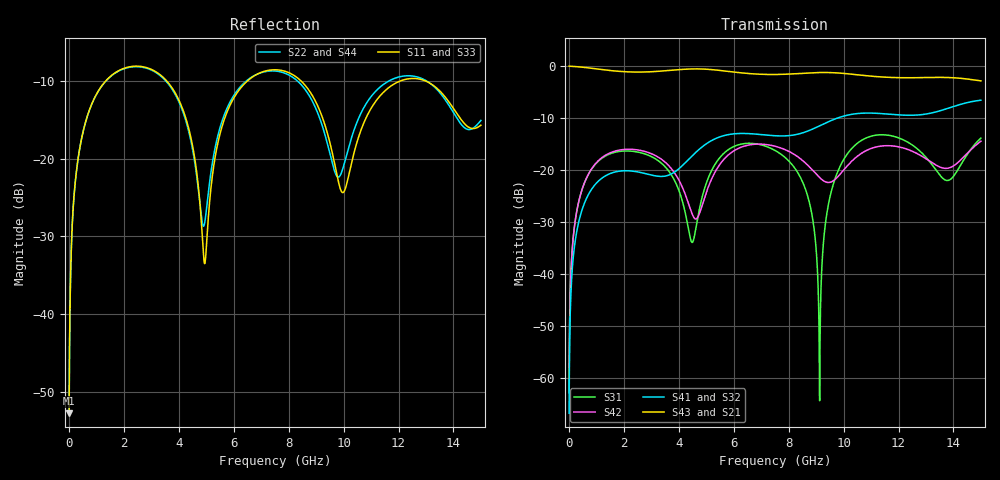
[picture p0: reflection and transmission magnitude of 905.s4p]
! Created with skrf 1.8.0 (http://scikit-rf.org).
# GHz S RI R 50.0
!freq ReS11 ImS11 ReS12 ImS12 ReS13 ImS13
! ReS14 ImS14
! ReS21 ImS21 ReS22 ImS22 ReS23 ImS23
! ReS24 ImS24
! ReS31 ImS31 ReS32 ImS32 ReS33 ImS33
! ReS34 ImS34
! ReS41 ImS41 ReS42 ImS42 ReS43 ImS43
! ReS44 ImS44
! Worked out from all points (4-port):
!   2499 points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, 5 MHz to 15 GHz, reference 50 ohm
!   strongest paths, dB at 5 MHz, 3.476 GHz, 7.19 GHz, 11.1 GHz, 15 GHz:
!     S43: 0.0, -0.9, -1.6, -2.0, -2.8
!     S21: 0.0, -0.9, -1.6, -2.0, -2.8
!     S41: -66.7, -21.2, -13.3, -9.0, -6.6
!     S32: -66.7, -21.2, -13.3, -9.0, -6.5
!     S42: -62.8, -18.4, -15.1, -15.7, -14.4
!     S31: -62.8, -19.2, -15.5, -13.4, -13.8
!   lowest |S11| = -52.8 dB at 5 MHz (marker M1), VSWR 1.00, Z = 50.2 + j0.139 ohm
!   |S11| at or under -10 dB: 3.565 GHz to 6.489 GHz (2.924 GHz wide, 58.2 % of centre); 8.458 GHz to 12.05 GHz (3.59 GHz wide, 35 % of centre); 13 GHz to end of sweep (the widest 3 of 4)
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0.005  0.00182 0.00139  0.9981 -0.00355  9.19e-05 0.00072  -8.94e-05 -0.000452
       0.9981 -0.00355  0.00182 0.00139  -8.94e-05 -0.000452  9.21e-05 0.00072
       9.19e-05 0.00072  -8.94e-05 -0.000452  0.00182 0.00139  0.9981 -0.00355
       -8.94e-05 -0.000452  9.21e-05 0.00072  0.9981 -0.00355  0.00182 0.00139
1.419341  0.2776 0.1754  0.5372 -0.7361  0.1247 0.0653  -0.0907 -0.00426
          0.5372 -0.7361  0.2747 0.1773  -0.0906 -0.00437  0.1332 0.0533
          0.1247 0.0653  -0.0906 -0.00437  0.2776 0.1753  0.5372 -0.7361
          -0.0907 -0.00426  0.1332 0.0533  0.5372 -0.7361  0.2746 0.1773
4.989579  0.0222 0.0112  -0.9335 -0.0172  0.0358 0.0642  0.0036 0.1783
          -0.9335 -0.0172  0.039 0.0214  0.00143 0.1784  -0.0144 0.058
          0.0358 0.0642  0.00143 0.1784  0.0206 0.0113  -0.9335 -0.0174
          0.0036 0.1783  -0.0144 0.058  -0.9335 -0.0174  0.0406 0.0213
8.065861  0.3367 -0.1109  0.2144 0.8106  0.0906 -0.0754  0.1903 -0.101
          0.2144 0.8106  0.326 -0.1032  0.1916 -0.0967  0.0735 -0.1292
          0.0906 -0.0754  0.1916 -0.0967  0.3353 -0.1107  0.2142 0.8114
          0.1903 -0.101  0.0735 -0.1292  0.2142 0.8114  0.3241 -0.1018
9.128804  0.1381 -0.1515  0.6931 0.5199  -0.000572 0.000206  0.1517 -0.2194
          0.6931 0.5199  0.1352 -0.1228  0.1571 -0.2158  -0.0656 -0.0537
          -0.000572 0.000206  0.1571 -0.2158  0.1347 -0.1511  0.6933 0.5204
          0.1517 -0.2194  -0.0656 -0.0537  0.6933 0.5204  0.1366 -0.1194
10.30429  0.0799 0.0538  0.8281 -0.1114  0.1043 0.1243  -0.0717 -0.3367
          0.8281 -0.1114  0.1114 0.0838  -0.0639 -0.3388  0.0212 0.1206
          0.1043 0.1243  -0.0639 -0.3388  0.0757 0.0568  0.8281 -0.1104
          -0.0717 -0.3367  0.0212 0.1206  0.8281 -0.1104  0.116 0.0827
15  0.1645 0.0041  -0.7163 -0.0818  0.0179 0.2025  -0.0291 0.4692
    -0.7163 -0.0818  0.1745 0.0266  -0.0443 0.4684  -0.0121 0.1894
    0.0179 0.2025  -0.0443 0.4684  0.1625 0.0146  -0.7163 -0.0834
    -0.0291 0.4692  -0.0121 0.1894  -0.7163 -0.0834  0.1753 0.0281
